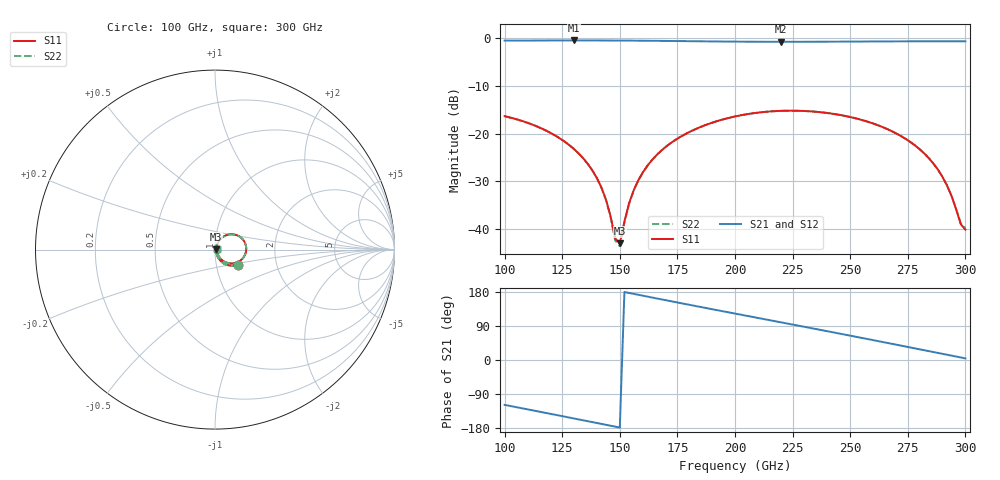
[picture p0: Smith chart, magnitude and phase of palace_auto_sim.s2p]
#  GHZ S DB R 50
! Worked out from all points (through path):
!   101 points, 100 GHz to 300 GHz, reference 50 ohm
!   highest |S21| = -0.42 dB at 130 GHz (marker M1); lowest = -0.7 dB at 220 GHz (marker M2)
!   group delay of S21, straight-line fit = 3.28 ps
!   lowest |S11| = -43.1 dB at 150 GHz (marker M3), VSWR 1.01, Z = 50.7 + j0.256 ohm
!   |S11| at or under -10 dB: start of sweep to end of sweep
!   |S22| runs from -43.6 to -15.2 dB; largest |S21 - S12| = 1.1e-14
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100  -16.34 -33.1  -0.45 -118.5  -0.45 -118.5  -16.34 -33.3
116  -18.90 -50.1  -0.43 -137.4  -0.43 -137.4  -18.90 -50.5
130  -23.19 -63.8  -0.42 -154.2  -0.42 -154.2  -23.19 -64.4
134  -25.12 -67.0  -0.42 -159.0  -0.42 -159.0  -25.12 -67.7
142  -31.30 -69.1  -0.43 -168.6  -0.43 -168.6  -31.33 -70.2
146  -37.39 -58.7  -0.44 -173.4  -0.44 -173.4  -37.51 -60.8
148  -42.04 -34.8  -0.44 -175.9  -0.44 -175.9  -42.45 -37.2
150  -43.08 21.1  -0.44 -178.3  -0.44 -178.3  -43.65 22.3
154  -34.70 63.1  -0.46 176.9  -0.46 176.9  -34.78 64.3
156  -31.95 66.6  -0.46 174.5  -0.46 174.5  -31.99 67.5
162  -26.73 66.7  -0.48 167.3  -0.48 167.3  -26.75 67.0
168  -23.57 62.5  -0.51 160.1  -0.51 160.1  -23.58 62.7
182  -19.24 49.2  -0.58 143.5  -0.58 143.5  -19.24 49.2
200  -16.40 30.1  -0.67 122.5  -0.67 122.5  -16.40 30.0
220  -15.22 7.7  -0.70 99.3  -0.70 99.3  -15.22 7.5
234  -15.36 -8.1  -0.69 83.0  -0.69 83.0  -15.36 -8.3
250  -16.51 -25.9  -0.66 64.2  -0.66 64.2  -16.51 -26.1
268  -19.47 -45.1  -0.62 42.8  -0.62 42.8  -19.48 -45.3
286  -26.21 -59.8  -0.60 21.2  -0.60 21.2  -26.21 -59.9
292  -30.87 -58.4  -0.60 13.9  -0.60 13.9  -30.86 -58.2
298  -39.02 -25.3  -0.60 6.6  -0.60 6.6  -38.86 -24.7
300  -40.18 11.2  -0.61 4.2  -0.61 4.2  -39.93 10.9
